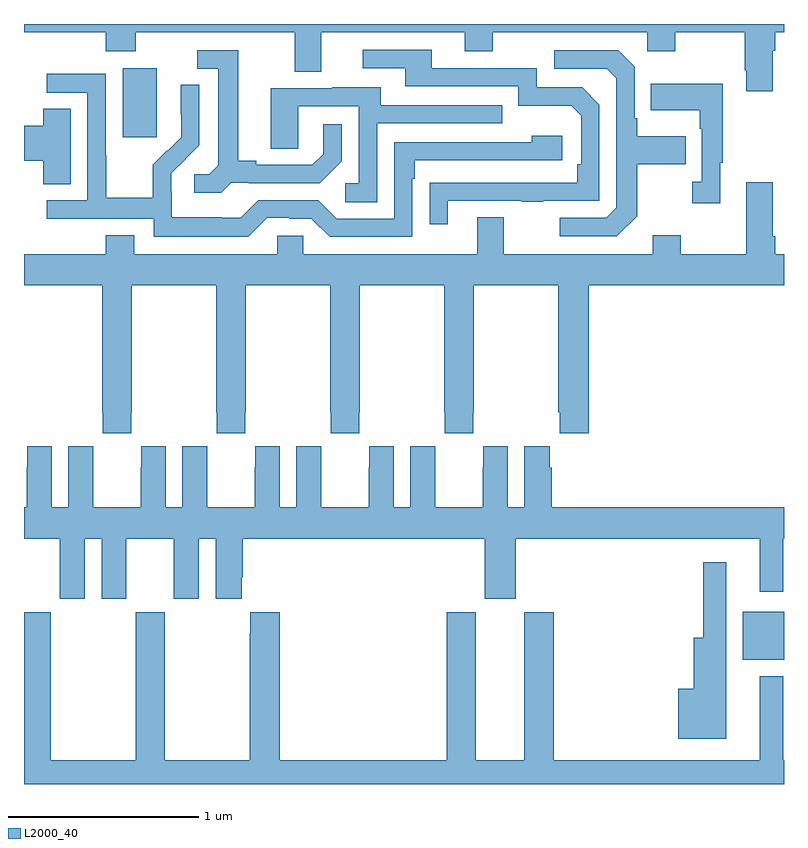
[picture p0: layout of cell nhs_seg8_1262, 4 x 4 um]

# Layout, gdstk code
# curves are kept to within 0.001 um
import gdstk
lib = gdstk.Library(unit=1e-6, precision=1e-09)
def R(c, l, rs):  # rectangles x0, y0, x1, y1
    for r in rs: c.add(gdstk.rectangle(r[:2], r[2:], *l))
def P(c, l, *ps):  # polygons
    for p in ps: c.add(gdstk.Polygon(p, *l))
L2000_40 = (2000, 40)

nhs_seg8_1262 = lib.new_cell('nhs_seg8_1262')
R(nhs_seg8_1262, L2000_40, [(194.783,1090.553,195,1090.807), (191.519,1093.305,191.698,1093.666)])
P(nhs_seg8_1262, L2000_40, [(194.941,1093.76),(194.954,1093.76),(194.954,1093.856),(195,1093.856),(195,1093.9),(191,1093.9),(191,1093.856),(191.429,1093.856),(191.429,1093.757),(191.589,1093.757),(191.589,1093.856),(192.425,1093.856),(192.425,1093.648),(192.565,1093.648),(192.565,1093.856),(193.319,1093.856),(193.319,1093.757),(193.467,1093.757),(193.467,1093.856),(194.28,1093.856),(194.28,1093.757),(194.427,1093.757),(194.427,1093.856),(194.794,1093.856),(194.794,1093.657),(194.801,1093.657),(194.801,1093.545),(194.941,1093.545)],
  [(193.231,1092.969),(193.621,1092.969),(193.621,1092.964),(193.733,1092.964),(193.733,1092.969),(194.028,1092.969),(194.028,1093.476),(193.938,1093.566),(193.698,1093.566),(193.698,1093.668),(193.147,1093.668),(193.147,1093.764),(192.783,1093.764),(192.783,1093.668),(193.007,1093.668),(193.007,1093.572),(193.602,1093.572),(193.602,1093.469),(193.879,1093.469),(193.932,1093.416),(193.932,1093.162),(193.912,1093.162),(193.912,1093.065),(193.135,1093.064),(193.135,1092.846),(193.231,1092.846)],
  [(194.227,1092.889),(194.227,1093.162),(194.483,1093.162),(194.483,1093.309),(194.227,1093.309),(194.227,1093.405),(194.214,1093.405),(194.214,1093.674),(194.127,1093.761),(193.791,1093.761),(193.791,1093.665),(194.067,1093.665),(194.118,1093.614),(194.118,1092.933),(194.064,1092.879),(193.821,1092.879),(193.821,1092.783),(194.121,1092.783)],
  [(192.09,1093.065),(192.184,1093.065),(192.184,1093.062),(192.556,1093.062),(192.672,1093.178),(192.672,1093.372),(192.575,1093.372),(192.575,1093.215),(192.518,1093.158),(192.223,1093.158),(192.223,1093.181),(192.127,1093.181),(192.127,1093.761),(191.913,1093.761),(191.913,1093.665),(192.023,1093.665),(192.023,1093.157),(191.976,1093.11),(191.895,1093.11),(191.895,1093.013),(192.038,1093.013)],
  [(192.279,1092.879),(192.395,1092.879),(192.395,1092.876),(192.513,1092.876),(192.609,1092.78),(193.044,1092.78),(193.044,1093.085),(193.057,1093.085),(193.057,1093.182),(193.834,1093.182),(193.834,1093.312),(193.673,1093.312),(193.673,1093.278),(192.948,1093.278),(192.948,1092.876),(192.645,1092.876),(192.549,1092.972),(192.234,1092.972),(192.141,1092.879),(192.041,1092.879),(192.041,1092.883),(191.778,1092.883),(191.778,1093.017),(191.776,1093.017),(191.776,1093.114),(191.922,1093.262),(191.922,1093.58),(191.826,1093.58),(191.826,1093.426),(191.828,1093.426),(191.828,1093.304),(191.757,1093.233),(191.754,1093.236),(191.677,1093.159),(191.677,1092.985),(191.433,1092.985),(191.433,1093.208),(191.43,1093.208),(191.43,1093.638),(191.121,1093.638),(191.121,1093.539),(191.334,1093.539),(191.334,1092.972),(191.121,1092.972),(191.121,1092.876),(191.682,1092.876),(191.682,1092.779),(192.179,1092.779)],
  [(194.665,1093.169),(194.677,1093.169),(194.677,1093.585),(194.299,1093.585),(194.299,1093.445),(194.556,1093.445),(194.556,1093.349),(194.568,1093.349),(194.568,1093.07),(194.517,1093.07),(194.517,1092.957),(194.665,1092.957)],
  [(192.858,1093.377),(193.517,1093.377),(193.517,1093.473),(192.877,1093.473),(192.877,1093.567),(192.623,1093.567),(192.623,1093.563),(192.299,1093.563),(192.299,1093.243),(192.444,1093.243),(192.444,1093.467),(192.762,1093.467),(192.762,1093.062),(192.69,1093.062),(192.69,1092.961),(192.858,1092.961)],
  [(191.245,1093.454),(191.102,1093.454),(191.102,1093.364),(191,1093.364),(191,1093.181),(191.102,1093.181),(191.102,1093.057),(191.245,1093.057)],
  [(191.565,1091.857),(191.568,1091.857),(191.568,1092.524),(192.013,1092.524),(192.013,1091.857),(192.015,1091.857),(192.015,1091.745),(192.165,1091.745),(192.165,1091.857),(192.168,1091.857),(192.168,1092.524),(192.613,1092.524),(192.613,1091.857),(192.615,1091.857),(192.615,1091.745),(192.765,1091.745),(192.765,1091.857),(192.768,1091.857),(192.768,1092.524),(193.213,1092.524),(193.213,1091.857),(193.215,1091.857),(193.215,1091.745),(193.365,1091.745),(193.365,1091.857),(193.368,1091.857),(193.368,1092.524),(193.813,1092.524),(193.813,1091.857),(193.819,1091.857),(193.819,1091.745),(193.973,1091.745),(193.973,1092.524),(195,1092.524),(195,1092.688),(194.954,1092.688),(194.954,1092.784),(194.941,1092.784),(194.941,1093.066),(194.801,1093.066),(194.801,1092.688),(194.457,1092.688),(194.457,1092.787),(194.309,1092.787),(194.309,1092.688),(193.525,1092.688),(193.525,1092.883),(193.385,1092.883),(193.385,1092.688),(192.471,1092.688),(192.471,1092.786),(192.333,1092.786),(192.333,1092.688),(191.581,1092.688),(191.581,1092.787),(191.429,1092.787),(191.429,1092.688),(191,1092.688),(191,1092.524),(191.413,1092.524),(191.413,1091.857),(191.415,1091.857),(191.415,1091.745),(191.565,1091.745)],
  [(191.365,1091.564),(191.364,1091.564),(191.364,1091.677),(191.234,1091.677),(191.234,1091.356),(191.146,1091.356),(191.146,1091.677),(191.016,1091.677),(191.016,1091.564),(191.015,1091.564),(191.015,1091.356),(191,1091.356),(191,1091.192),(191.189,1091.192),(191.189,1090.875),(191.32,1090.875),(191.32,1091.192),(191.408,1091.192),(191.408,1090.875),(191.539,1090.875),(191.539,1091.192),(191.789,1091.192),(191.789,1090.875),(191.92,1090.875),(191.92,1091.192),(192.008,1091.192),(192.008,1090.875),(192.145,1090.875),(192.145,1090.987),(192.152,1090.987),(192.152,1091.192),(193.424,1091.192),(193.424,1090.875),(193.588,1090.875),(193.588,1091.192),(194.873,1091.192),(194.873,1090.911),(194.995,1090.911),(194.995,1091.192),(195,1091.192),(195,1091.356),(193.778,1091.356),(193.778,1091.564),(193.768,1091.564),(193.768,1091.677),(193.634,1091.677),(193.634,1091.356),(193.546,1091.356),(193.546,1091.677),(193.416,1091.677),(193.416,1091.564),(193.415,1091.564),(193.415,1091.356),(193.165,1091.356),(193.165,1091.564),(193.164,1091.564),(193.164,1091.677),(193.034,1091.677),(193.034,1091.356),(192.946,1091.356),(192.946,1091.677),(192.816,1091.677),(192.816,1091.564),(192.815,1091.564),(192.815,1091.356),(192.565,1091.356),(192.565,1091.564),(192.564,1091.564),(192.564,1091.677),(192.434,1091.677),(192.434,1091.356),(192.346,1091.356),(192.346,1091.677),(192.216,1091.677),(192.216,1091.564),(192.215,1091.564),(192.215,1091.356),(191.965,1091.356),(191.965,1091.564),(191.964,1091.564),(191.964,1091.677),(191.834,1091.677),(191.834,1091.356),(191.746,1091.356),(191.746,1091.677),(191.616,1091.677),(191.616,1091.564),(191.615,1091.564),(191.615,1091.356),(191.365,1091.356)],
  [(194.695,1091.068),(194.574,1091.068),(194.574,1090.669),(194.525,1090.669),(194.525,1090.402),(194.444,1090.402),(194.444,1090.139),(194.695,1090.139)],
  [(195,1090.024),(194.995,1090.024),(194.995,1090.468),(194.873,1090.468),(194.873,1090.024),(193.787,1090.024),(193.787,1090.803),(193.634,1090.803),(193.634,1090.024),(193.378,1090.024),(193.378,1090.803),(193.226,1090.803),(193.226,1090.024),(192.347,1090.024),(192.347,1090.804),(192.191,1090.804),(192.191,1090.691),(192.187,1090.691),(192.187,1090.024),(191.742,1090.024),(191.742,1090.804),(191.587,1090.804),(191.587,1090.024),(191.142,1090.024),(191.142,1090.804),(191,1090.804),(191,1089.9),(195,1089.9)])

lib.write_gds('nhs_seg8_1262.gds')
